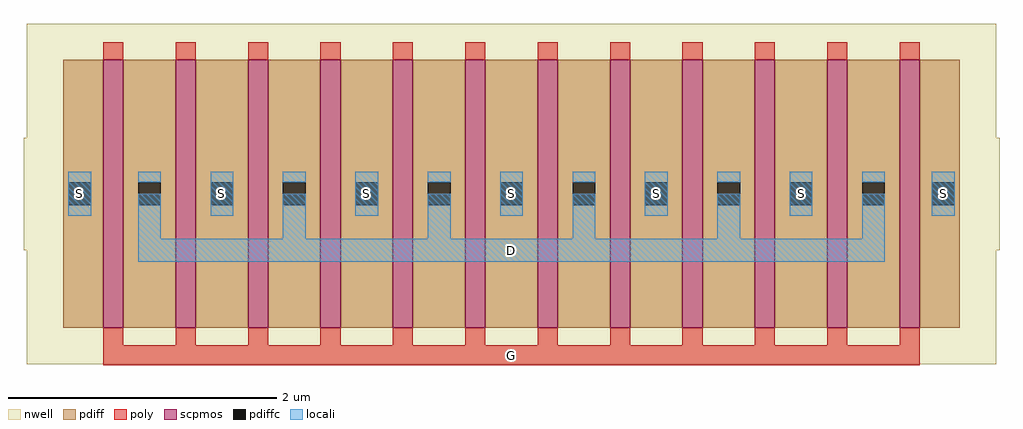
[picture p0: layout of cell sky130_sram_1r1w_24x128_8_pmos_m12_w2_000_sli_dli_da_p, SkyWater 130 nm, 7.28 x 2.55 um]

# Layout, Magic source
magic
tech sky130B
magscale 1 2
<< nwell >>
rect -54 -54 1392 454
<< scpmos >>
rect 60 0 90 400
rect 168 0 198 400
rect 276 0 306 400
rect 384 0 414 400
rect 492 0 522 400
rect 600 0 630 400
rect 708 0 738 400
rect 816 0 846 400
rect 924 0 954 400
rect 1032 0 1062 400
rect 1140 0 1170 400
rect 1248 0 1278 400
<< pdiff >>
rect 0 0 60 400
rect 90 0 168 400
rect 198 0 276 400
rect 306 0 384 400
rect 414 0 492 400
rect 522 0 600 400
rect 630 0 708 400
rect 738 0 816 400
rect 846 0 924 400
rect 954 0 1032 400
rect 1062 0 1140 400
rect 1170 0 1248 400
rect 1278 0 1338 400
<< poly >>
rect 60 400 90 426
rect 168 400 198 426
rect 276 400 306 426
rect 384 400 414 426
rect 492 400 522 426
rect 600 400 630 426
rect 708 400 738 426
rect 816 400 846 426
rect 924 400 954 426
rect 1032 400 1062 426
rect 1140 400 1170 426
rect 1248 400 1278 426
rect 60 -26 90 0
rect 168 -26 198 0
rect 276 -26 306 0
rect 384 -26 414 0
rect 492 -26 522 0
rect 600 -26 630 0
rect 708 -26 738 0
rect 816 -26 846 0
rect 924 -26 954 0
rect 1032 -26 1062 0
rect 1140 -26 1170 0
rect 1248 -26 1278 0
rect 60 -56 1278 -26
<< locali >>
rect 8 167 42 233
rect 112 133 146 200
rect 220 167 254 233
rect 328 133 362 200
rect 436 167 470 233
rect 544 133 578 200
rect 652 167 686 233
rect 760 133 794 200
rect 868 167 902 233
rect 976 133 1010 200
rect 1084 167 1118 233
rect 1192 133 1226 200
rect 1296 167 1330 233
rect 112 99 1226 133
use sky130_sram_1r1w_24x128_8_contact_11  sky130_sram_1r1w_24x128_8_contact_11_0
transform 1 0 1288 0 1 167
box -59 -51 109 117
use sky130_sram_1r1w_24x128_8_contact_11  sky130_sram_1r1w_24x128_8_contact_11_1
transform 1 0 1184 0 1 167
box -59 -51 109 117
use sky130_sram_1r1w_24x128_8_contact_11  sky130_sram_1r1w_24x128_8_contact_11_2
transform 1 0 1076 0 1 167
box -59 -51 109 117
use sky130_sram_1r1w_24x128_8_contact_11  sky130_sram_1r1w_24x128_8_contact_11_3
transform 1 0 968 0 1 167
box -59 -51 109 117
use sky130_sram_1r1w_24x128_8_contact_11  sky130_sram_1r1w_24x128_8_contact_11_4
transform 1 0 860 0 1 167
box -59 -51 109 117
use sky130_sram_1r1w_24x128_8_contact_11  sky130_sram_1r1w_24x128_8_contact_11_5
transform 1 0 752 0 1 167
box -59 -51 109 117
use sky130_sram_1r1w_24x128_8_contact_11  sky130_sram_1r1w_24x128_8_contact_11_6
transform 1 0 644 0 1 167
box -59 -51 109 117
use sky130_sram_1r1w_24x128_8_contact_11  sky130_sram_1r1w_24x128_8_contact_11_7
transform 1 0 536 0 1 167
box -59 -51 109 117
use sky130_sram_1r1w_24x128_8_contact_11  sky130_sram_1r1w_24x128_8_contact_11_8
transform 1 0 428 0 1 167
box -59 -51 109 117
use sky130_sram_1r1w_24x128_8_contact_11  sky130_sram_1r1w_24x128_8_contact_11_9
transform 1 0 320 0 1 167
box -59 -51 109 117
use sky130_sram_1r1w_24x128_8_contact_11  sky130_sram_1r1w_24x128_8_contact_11_10
transform 1 0 212 0 1 167
box -59 -51 109 117
use sky130_sram_1r1w_24x128_8_contact_11  sky130_sram_1r1w_24x128_8_contact_11_11
transform 1 0 104 0 1 167
box -59 -51 109 117
use sky130_sram_1r1w_24x128_8_contact_11  sky130_sram_1r1w_24x128_8_contact_11_12
transform 1 0 0 0 1 167
box -59 -51 109 117
<< labels >>
rlabel poly s 669 -41 669 -41 4 G
port 1 nsew
rlabel locali s 885 200 885 200 4 S
port 2 nsew
rlabel locali s 237 200 237 200 4 S
port 2 nsew
rlabel locali s 669 200 669 200 4 S
port 2 nsew
rlabel locali s 1313 200 1313 200 4 S
port 2 nsew
rlabel locali s 1101 200 1101 200 4 S
port 2 nsew
rlabel locali s 25 200 25 200 4 S
port 2 nsew
rlabel locali s 453 200 453 200 4 S
port 2 nsew
rlabel locali s 669 116 669 116 4 D
port 3 nsew
<< properties >>
string FIXED_BBOX -54 -56 1392 454
<< end >>

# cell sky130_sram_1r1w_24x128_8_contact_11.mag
magic
tech sky130B
magscale 1 2
<< nwell >>
rect -59 -51 109 117
<< pdiff >>
rect 0 50 50 62
rect 0 16 8 50
rect 42 16 50 50
rect 0 4 50 16
<< pdiffc >>
rect 8 16 42 50
<< locali >>
rect 8 50 42 66
rect 8 0 42 16
<< properties >>
string FIXED_BBOX -59 -51 109 117
<< end >>
